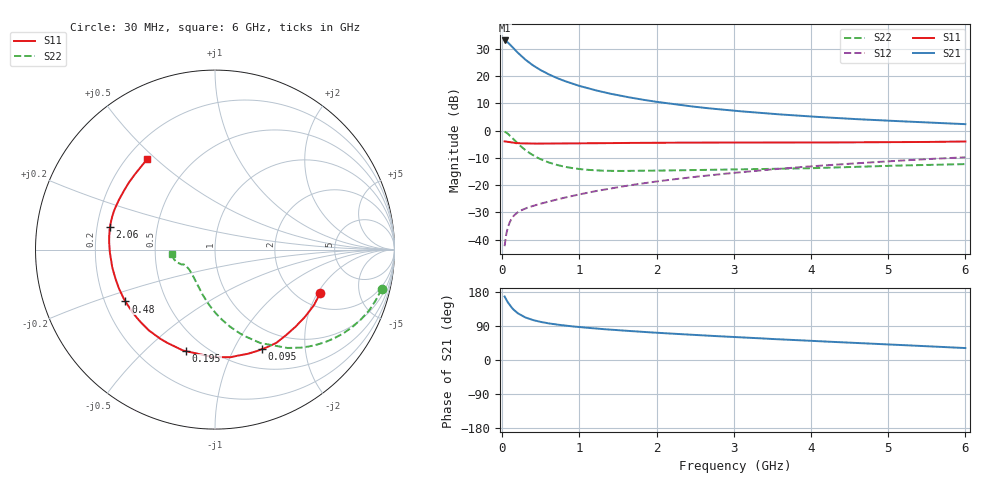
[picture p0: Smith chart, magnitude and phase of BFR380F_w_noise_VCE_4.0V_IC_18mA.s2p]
! Infineon Technologies  Discrete & RF Semiconductors
! BFR380F
! VCE =  4.0 V,  IC =  18 mA
! Common Emitter S-Parameters:  Nov 2015
# GHz  S  MA  R  50
!  f  S11  S21  S12  S22
! GHz  MAG  ANG  MAG  ANG  MAG  ANG  MAG  ANG
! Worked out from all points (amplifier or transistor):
!   206 points, 30 MHz to 6 GHz, reference 50 ohm
!   highest |S21| = 33.0 dB at 30 MHz (marker M1)
!   |S21| within 3 dB of that: start of sweep to 151 MHz
!   unconditionally stable (mu >= 1): 1.435 GHz to 5.004 GHz
!   at 200 MHz: K = 0.35, MSG = 29.3 dB, |S12| = -30.0 dB
!   at 1.56 GHz: K = 1.01, MAG = 15.9 dB, |S12| = -20.5 dB
!   at 6 GHz: K = 0.98, MSG = 6.1 dB, |S12| = -9.8 dB
!   lowest NFmin = 1.00 dB at 900 MHz
!   S11 on the Smith chart (normalised r, x): 30 MHz: 2.60, -2.11; 95 MHz: 0.73, -1.30; 195 MHz: 0.39, -0.68; 480 MHz: 0.29, -0.25; 2.06 GHz: 0.25, +0.10; 6 GHz: 0.28, +0.47
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0.03  0.6343 -22.4  44.82 167.6  0.0076 81.0  0.954 -13.3
0.05  0.6258 -36.8  43.51 159.6  0.0123 74.9  0.9225 -21.7
0.07  0.6196 -50.3  41.33 152.7  0.0163 70.3  0.8783 -29.4
0.095  0.6131 -64.8  38.29 145.3  0.0206 64.8  0.8157 -38.1
0.12  0.6043 -77.6  35.24 138.7  0.0241 60.3  0.7525 -45.8
0.14  0.6003 -86.4  32.93 134.2  0.0265 57.5  0.7039 -51.1
0.195  0.5884 -105.9  27.29 124.4  0.0313 52.5  0.588 -62.9
0.24  0.5837 -117.2  23.71 118.6  0.0342 50.5  0.5143 -70.5
0.3  0.5817 -129.3  19.91 112.2  0.0373 49.1  0.4373 -79.0
0.4  0.5775 -142.5  15.6 105.3  0.0416 49.2  0.3519 -89.7
0.48  0.5765 -149.9  13.26 101.3  0.045 50.3  0.3066 -96.5
0.6  0.5773 -158.0  10.75 96.6  0.0499 52.3  0.2607 -105.3
0.7  0.5777 -163.0  9.285 93.7  0.0541 54.1  0.2357 -111.5
0.9  0.5809 -170.3  7.291 88.9  0.0631 57.1  0.2058 -121.8
1.04  0.5822 -174.3  6.343 86.1  0.0695 58.9  0.1944 -127.6
1.4  0.5892 177.9  4.738 80.1  0.0868 61.9  0.1826 -139.0
2.02  0.5982 168.5  3.331 71.7  0.1176 64.1  0.1843 -148.6
2.06  0.5983 168.0  3.272 71.2  0.1196 64.2  0.1847 -149.0
3.1  0.6022 156.8  2.247 59.7  0.173 63.9  0.1948 -154.9
4.1  0.6045 146.4  1.774 49.6  0.226 61.1  0.2059 -156.7
5.1  0.6125 136.8  1.494 40.2  0.2783 57.4  0.2276 -163.1
6  0.6301 126.7  1.31 31.5  0.3236 52.8  0.2427 -174.3
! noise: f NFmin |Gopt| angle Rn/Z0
0.45  1.04  0.18  170  0.08
0.9  1  0.24  167  0.08
1.8  1.24  0.35  -178  0.07
1.9  1.31  0.36  -178  0.07
2.4  1.41  0.39  -167  0.08
3.5  2.01  0.48  -154  0.12
